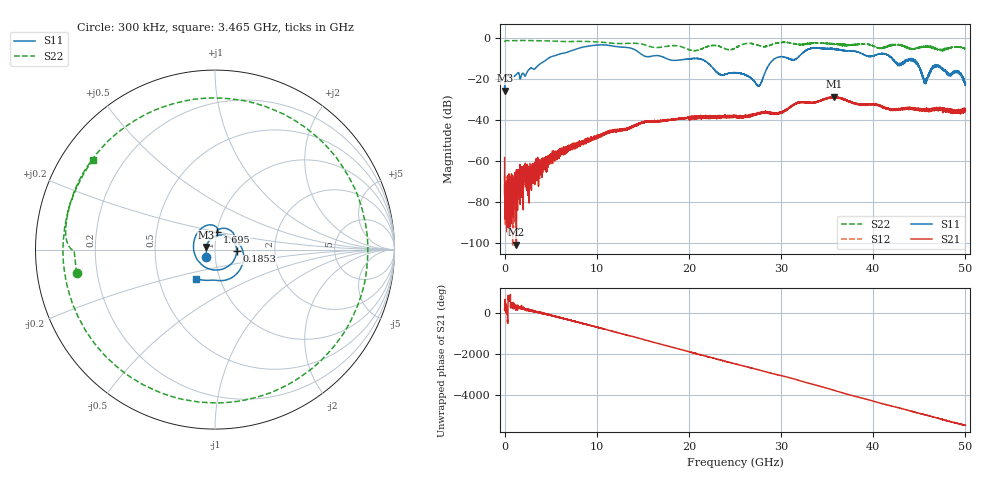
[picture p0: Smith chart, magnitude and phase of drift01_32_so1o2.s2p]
!Created with skrf (http://scikit-rf.org).
# Hz S RI R 50.0
!freq ReS11 ImS11 ReS21 ImS21 ReS12 ImS12 ReS22 ImS22
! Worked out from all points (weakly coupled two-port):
!   10001 points, 300 kHz to 50 GHz, reference 50 ohm
!   highest |S21| = -28.73 dB at 35.8 GHz (marker M1); lowest = -100.7 dB at 1.275 GHz (marker M2)
!   lowest |S11| = -25.8 dB at 5.3 MHz (marker M3), VSWR 1.11, Z = 45.3 + j1.4 ohm
!   |S11| at or under -10 dB: start of sweep to 4.766 GHz; 17.51 GHz to 29.41 GHz (11.9 GHz wide, 50.7 % of centre); 42.06 GHz to end of sweep (the widest 3 of 12)
!   |S22| runs from -6.5 to -1.4 dB; largest |S21 - S12| = 0.0042
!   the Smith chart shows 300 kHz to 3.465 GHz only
!   S11 on the Smith chart (normalised r, x): 300 kHz: 0.91, -0.08; 185.3 MHz: 1.27, -0.02; 1.695 GHz: 1.00, +0.20; 3.465 GHz: 0.77, -0.26
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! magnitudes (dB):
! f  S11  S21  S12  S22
! 300 kHz  -23.9  -58.3  -67.1  -2.1
! 5.3 MHz  -25.8  -76.6  -73.9  -2.1
! 185.3 MHz  -18.4  -79.8  -78.6  -1.4
! 1.275 GHz  -18.0  -100.7  -87.9  -1.4
! 1.695 GHz  -20.1  -81.1  -68.5  -1.4
! 3.465 GHz  -14.3  -65.4  -62.5  -1.5
! 8.335 GHz  -4.8  -51.3  -50.9  -1.8
! 16.67 GHz  -8.8  -41.0  -40.6  -4.8
! 21.17 GHz  -10.2  -38.1  -38.0  -5.9
! 23.38 GHz  -18.0  -38.7  -38.2  -4.4
! 25 GHz  -17.0  -38.7  -38.1  -5.2
! 27.59 GHz  -23.4  -36.7  -36.6  -3.8
! 29.29 GHz  -10.3  -36.6  -36.8  -2.9
! 31.45 GHz  -10.8  -32.4  -32.5  -2.9
! 33.34 GHz  -5.1  -31.6  -31.6  -2.7
! 35.8 GHz  -5.7  -28.7  -29.0  -3.1
! 41.67 GHz  -8.8  -34.5  -34.7  -4.0
! 42.78 GHz  -12.9  -35.1  -34.9  -3.6
! 44.44 GHz  -11.4  -34.6  -34.5  -5.3
! 45.63 GHz  -20.9  -34.9  -34.9  -4.4
! 46.88 GHz  -13.9  -34.8  -34.4  -5.4
! 50 GHz  -22.0  -35.6  -35.3  -5.4
